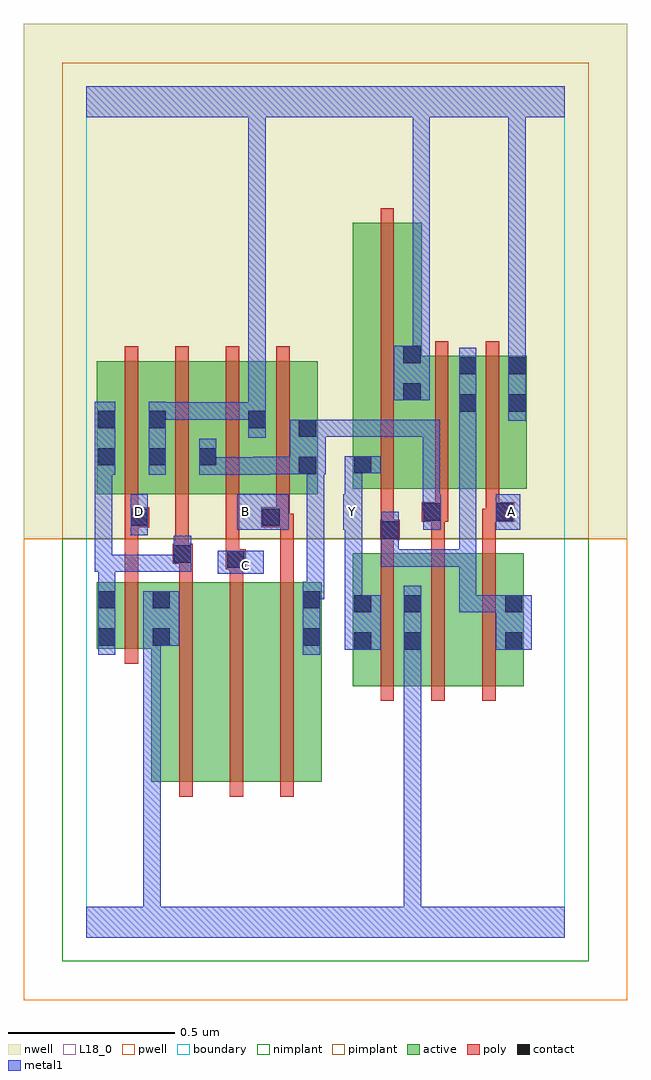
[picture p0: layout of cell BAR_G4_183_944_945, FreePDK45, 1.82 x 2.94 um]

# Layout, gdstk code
import gdstk
lib = gdstk.Library(unit=1e-6, precision=1e-09)
def R(c, l, rs):  # rectangles x0, y0, x1, y1
    for r in rs: c.add(gdstk.rectangle(r[:2], r[2:], *l))
def A(c, l, x, y, w, h, nx, ny, dx, dy):  # array of equal rectangles
    R(c, l, [(x+i*dx, y+j*dy, x+i*dx+w, y+j*dy+h) for i in range(nx) for j in range(ny)])
active = (1, 0)
pwell = (2, 0)
nwell = (3, 0)
nimplant = (4, 0)
pimplant = (5, 0)
poly = (9, 0)
contact = (10, 0)
metal1 = (11, 0)
L18_0 = (18, 0)
boundary = (235, 0)

bar_g4_183_944_945 = lib.new_cell('BAR_G4_183_944_945')
R(bar_g4_183_944_945, active, [(0.196,0.468,0.376,1.068), (0.376,0.468,0.528,1.068), (0.528,0.468,0.708,1.068), (0.648,0.468,0.708,1.068), (0.802,0.756,0.862,1.156), (0.802,0.756,1.012,1.156), (0.952,0.756,1.012,1.156), (0.952,0.756,1.134,1.156), (1.134,0.756,1.316,1.156), (1.256,0.756,1.316,1.156), (0.032,0.868,0.256,1.068), (0.032,0.874,0.092,1.068), (0.196,0.874,0.256,1.046), (0.032,1.334,0.092,1.644), (0.032,1.334,0.244,1.734), (0.184,1.334,0.396,1.734), (0.336,1.334,0.544,1.734), (0.336,1.334,0.396,1.644), (0.484,1.334,0.696,1.734), (0.636,1.334,0.696,1.644), (0.802,1.35,1.01,2.15), (0.802,1.35,0.862,2.044), (0.95,1.35,1.178,1.75), (1.118,1.35,1.178,1.75), (1.118,1.35,1.326,1.75), (1.266,1.35,1.326,1.75), (0.95,1.388,1.01,2.15), (0.184,1.416,0.244,1.644), (0.484,1.528,0.544,1.644)])
R(bar_g4_183_944_945, pwell, [(-0.188,-0.188,1.628,1.2)])
R(bar_g4_183_944_945, nwell, [(-0.188,1.2,1.628,2.748)])
R(bar_g4_183_944_945, nimplant, [(-0.072,-0.072,1.512,1.2)])
R(bar_g4_183_944_945, pimplant, [(-0.072,1.2,1.512,2.632)])
A(bar_g4_183_944_945, poly, 0.28, 0.424, 0.04, 0.688, 3, 1, 0.152, 0)
A(bar_g4_183_944_945, poly, 0.116, 1.29, 0.04, 0.488, 4, 1, 0.152, 0)
R(bar_g4_183_944_945, poly, [(0.886,0.712,0.926,1.2), (1.038,0.712,1.078,1.2), (1.192,0.712,1.232,1.2), (0.116,0.824,0.156,1.112), (0.116,1.072,0.156,1.274), (0.28,1.072,0.32,1.164), (0.432,1.072,0.472,1.148), (0.584,1.072,0.624,1.274), (0.42,1.108,0.48,1.168), (0.26,1.124,0.32,1.184), (0.42,1.128,0.46,1.168), (0.42,1.128,0.46,1.168), (0.42,1.128,0.46,1.33), (0.268,1.144,0.308,1.184), (0.268,1.144,0.308,1.184), (0.268,1.144,0.308,1.33), (0.886,1.16,0.926,1.236), (1.038,1.16,1.078,1.29), (1.192,1.16,1.232,1.29), (0.884,1.196,0.944,1.256), (0.886,1.216,0.926,1.256), (0.886,1.216,0.926,1.256), (0.886,1.216,0.926,1.346), (0.116,1.234,0.156,1.274), (0.116,1.234,0.156,1.274), (0.116,1.234,0.19,1.294), (0.526,1.234,0.612,1.294), (0.572,1.234,0.612,1.274), (0.572,1.234,0.624,1.274), (1.01,1.25,1.09,1.31), (1.038,1.25,1.078,1.29), (1.038,1.25,1.078,1.29), (1.192,1.25,1.242,1.29), (1.202,1.25,1.242,1.29), (1.202,1.25,1.288,1.31), (0.116,1.254,0.156,1.33), (0.572,1.254,0.612,1.33), (1.05,1.27,1.09,1.346), (1.202,1.27,1.242,1.346), (0.886,1.306,0.926,2.194), (1.05,1.306,1.09,1.794), (1.202,1.306,1.242,1.794)])
A(bar_g4_183_944_945, contact, 0.036, 1.42, 0.052, 0.052, 3, 1, 0.152, 0)
R(bar_g4_183_944_945, contact, [(0.806,0.866,0.858,0.918), (0.956,0.866,1.008,0.918), (1.26,0.866,1.312,0.918), (0.036,0.878,0.088,0.93), (0.2,0.878,0.252,0.93), (0.652,0.878,0.704,0.93), (0.806,0.978,0.858,1.03), (0.956,0.978,1.008,1.03), (1.26,0.978,1.312,1.03), (0.036,0.99,0.088,1.042), (0.2,0.99,0.252,1.042), (0.652,0.99,0.704,1.042), (0.424,1.112,0.476,1.164), (0.264,1.128,0.316,1.18), (0.888,1.2,0.94,1.252), (0.134,1.238,0.186,1.29), (0.53,1.238,0.582,1.29), (1.014,1.254,1.066,1.306), (1.232,1.254,1.284,1.306), (0.64,1.394,0.692,1.446), (0.806,1.396,0.858,1.448), (0.64,1.506,0.692,1.558), (0.036,1.532,0.088,1.584), (0.188,1.532,0.24,1.584), (0.488,1.532,0.54,1.584), (1.122,1.582,1.174,1.634), (1.27,1.582,1.322,1.634), (0.954,1.616,1.006,1.668), (1.122,1.694,1.174,1.746), (1.27,1.694,1.322,1.746), (0.954,1.728,1.006,1.78)])
R(bar_g4_183_944_945, metal1, [(0,0,1.44,0.092), (0.172,0.04,0.224,0.092), (0.172,0.04,0.224,0.092), (0.172,0.04,0.224,0.092), (0.172,0.04,0.224,0.092), (0.172,0.04,0.224,0.092), (0.172,0.04,0.224,0.092), (0.172,0.04,0.224,0.092), (0.172,0.04,0.224,0.092), (0.172,0.04,0.224,0.93), (0.956,0.04,1.008,0.092), (0.956,0.04,1.008,0.092), (0.956,0.04,1.008,0.092), (0.956,0.04,1.008,0.092), (0.956,0.04,1.008,0.092), (0.956,0.04,1.008,0.092), (0.956,0.04,1.008,0.092), (0.956,0.04,1.008,0.092), (0.956,0.04,1.008,0.092), (0.956,0.04,1.008,0.092), (0.956,0.04,1.008,0.092), (0.956,0.04,1.008,0.092), (0.956,0.04,1.008,0.89), (0.956,0.838,1.008,1.058), (0.036,0.85,0.088,1.07), (0.652,0.85,0.704,1.07), (0.778,0.866,0.886,1.03), (1.232,0.866,1.34,1.03), (0.172,0.878,0.28,1.042), (0.778,0.978,0.83,1.278), (1.122,0.978,1.174,1.03), (1.122,0.978,1.284,1.03), (1.122,0.978,1.174,1.168), (1.232,0.978,1.284,1.03), (1.232,0.978,1.284,1.03), (0.036,1.018,0.088,1.152), (0.652,1.018,0.704,1.07), (0.652,1.018,0.716,1.07), (0.664,1.018,0.716,1.07), (0.664,1.018,0.716,1.07), (0.664,1.018,0.716,1.446), (0.396,1.094,0.534,1.164), (0.026,1.1,0.078,1.444), (0.026,1.1,0.088,1.152), (0.036,1.1,0.088,1.152), (0.036,1.1,0.088,1.152), (0.036,1.1,0.282,1.152), (0.23,1.1,0.282,1.152), (0.23,1.1,0.316,1.152), (0.264,1.1,0.316,1.208), (0.888,1.116,0.94,1.224), (0.888,1.116,1.174,1.168), (1.122,1.116,1.174,1.168), (1.122,1.116,1.174,1.168), (1.122,1.116,1.174,1.168), (1.122,1.116,1.174,1.168), (1.122,1.116,1.174,1.168), (1.122,1.116,1.174,1.606), (0.888,1.172,0.94,1.224), (0.888,1.172,0.94,1.28), (0.134,1.21,0.186,1.334), (0.454,1.226,0.61,1.334), (0.774,1.226,0.83,1.334), (1.014,1.226,1.066,1.334), (1.232,1.226,1.306,1.334), (0.778,1.282,0.83,1.448), (1.012,1.282,1.064,1.334), (1.012,1.282,1.066,1.334), (1.012,1.282,1.064,1.558), (0.026,1.392,0.078,1.444), (0.026,1.392,0.078,1.444), (0.026,1.392,0.088,1.612), (0.188,1.392,0.24,1.612), (0.34,1.392,0.392,1.444), (0.34,1.392,0.392,1.444), (0.34,1.392,0.392,1.5), (0.34,1.392,0.554,1.444), (0.502,1.392,0.554,1.444), (0.502,1.392,0.554,1.444), (0.502,1.392,0.554,1.446), (0.502,1.394,0.664,1.446), (0.612,1.394,0.72,1.558), (0.778,1.396,0.83,1.448), (0.778,1.396,0.83,1.448), (0.778,1.396,0.886,1.448), (0.488,1.504,0.54,1.612), (0.668,1.506,0.72,1.558), (0.668,1.506,0.72,1.558), (0.668,1.506,0.72,1.558), (0.668,1.506,0.72,1.558), (0.668,1.506,0.868,1.558), (0.816,1.506,0.868,1.558), (0.816,1.506,1.064,1.558), (1.012,1.506,1.064,1.558), (1.012,1.506,1.064,1.558), (1.012,1.506,1.064,1.558), (1.122,1.554,1.174,1.774), (1.27,1.554,1.322,1.774), (0.188,1.558,0.24,1.61), (0.188,1.558,0.24,1.61), (0.188,1.558,0.396,1.61), (0.344,1.558,0.396,1.61), (0.344,1.558,0.396,1.61), (0.344,1.558,0.396,1.61), (0.344,1.558,0.54,1.61), (0.488,1.56,0.54,1.612), (0.488,1.56,0.54,1.612), (0.488,1.56,0.54,1.612), (0.488,1.56,0.54,1.612), (0.488,1.56,0.54,1.612), (0.488,1.56,0.54,1.612), (0.488,1.56,0.54,1.612), (0.488,1.56,0.54,1.612), (0.488,1.56,0.54,1.612), (0.488,1.56,0.54,1.612), (0.488,1.56,0.54,1.612), (0.488,1.56,0.54,1.612), (0.488,1.56,0.54,2.52), (0.926,1.616,1.034,1.78), (1.27,1.722,1.322,1.774), (1.27,1.722,1.322,1.774), (1.27,1.722,1.322,1.774), (1.27,1.722,1.322,1.774), (1.27,1.722,1.322,1.774), (1.27,1.722,1.322,1.774), (1.27,1.722,1.322,2.52), (0.982,1.728,1.034,1.78), (0.982,1.728,1.034,1.78), (0.982,1.728,1.034,2.52), (0,2.468,1.44,2.56), (0.488,2.468,0.54,2.52), (0.488,2.468,0.54,2.52), (0.488,2.468,0.54,2.52), (0.488,2.468,0.54,2.52), (0.982,2.468,1.034,2.52), (0.982,2.468,1.034,2.52), (0.982,2.468,1.034,2.52), (0.982,2.468,1.034,2.52), (0.982,2.468,1.034,2.52), (0.982,2.468,1.034,2.52), (1.27,2.468,1.322,2.52), (1.27,2.468,1.322,2.52), (1.27,2.468,1.322,2.52), (1.27,2.468,1.322,2.52), (1.27,2.468,1.322,2.52), (1.27,2.468,1.322,2.52), (1.27,2.468,1.322,2.52), (1.27,2.468,1.322,2.52), (1.27,2.468,1.322,2.52), (1.27,2.468,1.322,2.52)])
A(bar_g4_183_944_945, L18_0, 0.134, 1.254, 0.052, 0.052, 3, 1, 0.32, 0)
R(bar_g4_183_944_945, L18_0, [(0,0,1.44,0.092), (0.172,0.04,0.224,0.092), (0.172,0.04,0.224,0.092), (0.172,0.04,0.224,0.092), (0.172,0.04,0.224,0.092), (0.172,0.04,0.224,0.092), (0.172,0.04,0.224,0.092), (0.172,0.04,0.224,0.092), (0.172,0.04,0.224,0.092), (0.172,0.04,0.224,0.93), (0.956,0.04,1.008,0.092), (0.956,0.04,1.008,0.092), (0.956,0.04,1.008,0.092), (0.956,0.04,1.008,0.092), (0.956,0.04,1.008,0.092), (0.956,0.04,1.008,0.092), (0.956,0.04,1.008,0.092), (0.956,0.04,1.008,0.092), (0.956,0.04,1.008,0.092), (0.956,0.04,1.008,0.092), (0.956,0.04,1.008,0.092), (0.956,0.04,1.008,0.092), (0.956,0.04,1.008,0.89), (0.956,0.838,1.008,1.058), (0.778,0.866,0.886,1.03), (0.172,0.878,0.28,1.042), (0.778,0.978,0.83,1.278), (0.396,1.094,0.534,1.164), (0.454,1.094,0.506,1.146), (0.134,1.21,0.186,1.334), (0.454,1.226,0.61,1.334), (0.774,1.226,0.83,1.334), (1.232,1.226,1.306,1.334), (1.254,1.254,1.306,1.306), (0.778,1.282,0.83,1.448), (0.188,1.392,0.24,1.612), (0.778,1.396,0.83,1.448), (0.778,1.396,0.83,1.448), (0.778,1.396,0.886,1.448), (0.488,1.504,0.54,1.612), (1.27,1.554,1.322,1.774), (0.188,1.558,0.24,1.61), (0.188,1.558,0.24,1.61), (0.188,1.558,0.396,1.61), (0.344,1.558,0.396,1.61), (0.344,1.558,0.396,1.61), (0.344,1.558,0.396,1.61), (0.344,1.558,0.54,1.61), (0.488,1.56,0.54,1.612), (0.488,1.56,0.54,1.612), (0.488,1.56,0.54,1.612), (0.488,1.56,0.54,1.612), (0.488,1.56,0.54,1.612), (0.488,1.56,0.54,1.612), (0.488,1.56,0.54,1.612), (0.488,1.56,0.54,1.612), (0.488,1.56,0.54,1.612), (0.488,1.56,0.54,1.612), (0.488,1.56,0.54,1.612), (0.488,1.56,0.54,1.612), (0.488,1.56,0.54,2.52), (0.926,1.616,1.034,1.78), (1.27,1.722,1.322,1.774), (1.27,1.722,1.322,1.774), (1.27,1.722,1.322,1.774), (1.27,1.722,1.322,1.774), (1.27,1.722,1.322,1.774), (1.27,1.722,1.322,1.774), (1.27,1.722,1.322,2.52), (0.982,1.728,1.034,1.78), (0.982,1.728,1.034,1.78), (0.982,1.728,1.034,2.52), (0,2.468,1.44,2.56), (0.488,2.468,0.54,2.52), (0.488,2.468,0.54,2.52), (0.488,2.468,0.54,2.52), (0.488,2.468,0.54,2.52), (0.982,2.468,1.034,2.52), (0.982,2.468,1.034,2.52), (0.982,2.468,1.034,2.52), (0.982,2.468,1.034,2.52), (0.982,2.468,1.034,2.52), (0.982,2.468,1.034,2.52), (1.27,2.468,1.322,2.52), (1.27,2.468,1.322,2.52), (1.27,2.468,1.322,2.52), (1.27,2.468,1.322,2.52), (1.27,2.468,1.322,2.52), (1.27,2.468,1.322,2.52), (1.27,2.468,1.322,2.52), (1.27,2.468,1.322,2.52), (1.27,2.468,1.322,2.52), (1.27,2.468,1.322,2.52)])
R(bar_g4_183_944_945, boundary, [(0,0,1.44,2.56)])
bar_g4_183_944_945.add(gdstk.Label('A', (1.28,1.28), layer=11, texttype=0))
bar_g4_183_944_945.add(gdstk.Label('B', (0.48,1.28), layer=11, texttype=0))
bar_g4_183_944_945.add(gdstk.Label('C', (0.48,1.12), layer=11, texttype=0))
bar_g4_183_944_945.add(gdstk.Label('D', (0.16,1.28), layer=11, texttype=0))
bar_g4_183_944_945.add(gdstk.Label('Y', (0.8,1.28), layer=11, texttype=0))

lib.write_gds('BAR_G4_183_944_945.gds')
